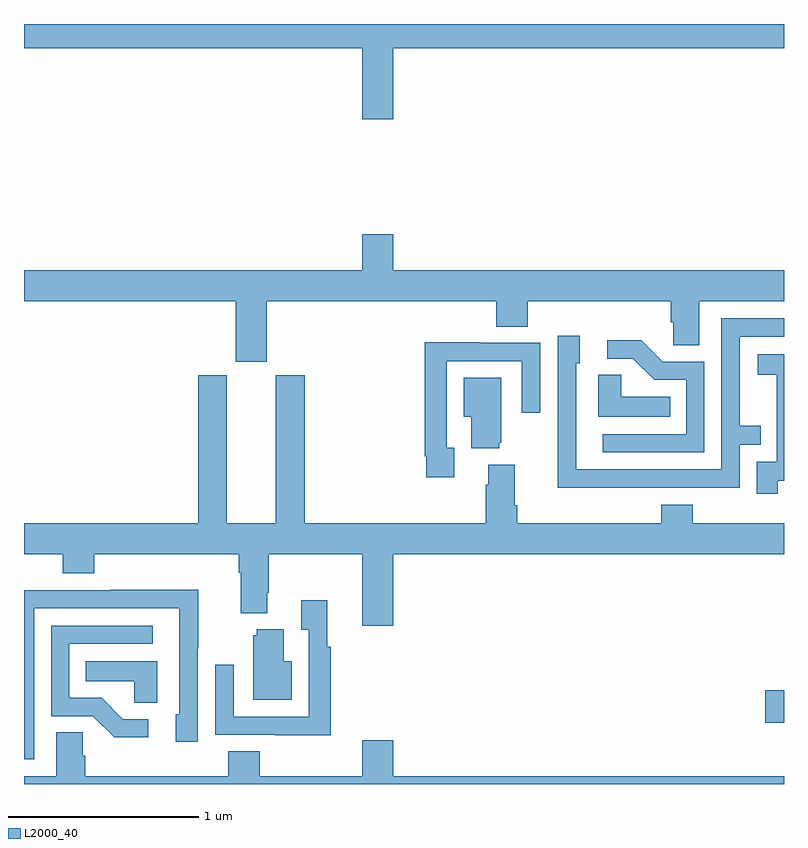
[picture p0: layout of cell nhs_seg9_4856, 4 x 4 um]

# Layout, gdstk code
import gdstk
lib = gdstk.Library(unit=1e-6, precision=1e-09)
def R(c, l, rs):  # rectangles x0, y0, x1, y1
    for r in rs: c.add(gdstk.rectangle(r[:2], r[2:], *l))
def P(c, l, *ps):  # polygons
    for p in ps: c.add(gdstk.Polygon(p, *l))
L2000_40 = (2000, 40)

nhs_seg9_4856 = lib.new_cell('nhs_seg9_4856')
R(nhs_seg9_4856, L2000_40, [(394.902,1240.823,395,1240.994)])
P(nhs_seg9_4856, L2000_40, [(392.944,1244.372),(395,1244.372),(395,1244.5),(391,1244.5),(391,1244.372),(392.78,1244.372),(392.78,1243.998),(392.944,1243.998)],
  [(392.278,1243.04),(393.485,1243.04),(393.485,1242.907),(393.65,1242.907),(393.65,1243.04),(394.403,1243.04),(394.403,1242.931),(394.416,1242.931),(394.416,1242.808),(394.555,1242.808),(394.555,1243.04),(395,1243.04),(395,1243.204),(392.944,1243.204),(392.944,1243.393),(392.78,1243.393),(392.78,1243.204),(391,1243.204),(391,1243.04),(392.114,1243.04),(392.114,1242.723),(392.278,1242.723)],
  [(394.271,1242.06),(394.767,1242.06),(394.767,1242.285),(394.877,1242.285),(394.877,1242.386),(394.767,1242.386),(394.767,1242.855),(395,1242.855),(395,1242.951),(394.671,1242.951),(394.671,1242.156),(393.906,1242.156),(393.906,1242.714),(393.925,1242.714),(393.925,1242.859),(393.81,1242.859),(393.81,1242.365),(393.808,1242.365),(393.808,1242.059),(394.271,1242.059)],
  [(394.581,1242.723),(394.362,1242.723),(394.249,1242.836),(394.071,1242.836),(394.071,1242.738),(394.205,1242.738),(394.316,1242.627),(394.485,1242.627),(394.485,1242.342),(394.047,1242.342),(394.047,1242.246),(394.581,1242.246)],
  [(393.265,1242.27),(393.225,1242.27),(393.225,1242.726),(393.621,1242.726),(393.621,1242.453),(393.717,1242.453),(393.717,1242.822),(393.401,1242.822),(393.401,1242.824),(393.109,1242.824),(393.109,1242.226),(393.117,1242.226),(393.117,1242.114),(393.265,1242.114)],
  [(394.966,1242.097),(395,1242.097),(395,1242.763),(394.863,1242.763),(394.863,1242.653),(394.961,1242.653),(394.961,1242.425),(394.962,1242.425),(394.962,1242.195),(394.857,1242.195),(394.857,1242.027),(394.966,1242.027)],
  [(394.4,1242.538),(394.143,1242.538),(394.143,1242.653),(394.022,1242.653),(394.022,1242.434),(394.4,1242.434)],
  [(392.944,1241.708),(395,1241.708),(395,1241.872),(394.52,1241.872),(394.52,1241.971),(394.355,1241.971),(394.355,1241.872),(393.596,1241.872),(393.596,1241.968),(393.583,1241.968),(393.583,1242.181),(393.443,1242.181),(393.443,1242.074),(393.431,1242.074),(393.431,1241.872),(392.477,1241.872),(392.477,1242.651),(392.324,1242.651),(392.324,1241.872),(392.068,1241.872),(392.068,1242.651),(391.916,1242.651),(391.916,1241.872),(391,1241.872),(391,1241.708),(391.205,1241.708),(391.205,1241.609),(391.37,1241.609),(391.37,1241.708),(392.129,1241.708),(392.129,1241.612),(392.141,1241.612),(392.141,1241.399),(392.281,1241.399),(392.281,1241.506),(392.289,1241.506),(392.289,1241.708),(392.78,1241.708),(392.78,1241.334),(392.944,1241.334)],
  [(393.5,1242.297),(393.511,1242.297),(393.511,1242.637),(393.314,1242.637),(393.314,1242.434),(393.353,1242.434),(393.353,1242.266),(393.5,1242.266)],
  [(391.053,1241.424),(391.818,1241.424),(391.818,1240.866),(391.799,1240.866),(391.799,1240.722),(391.914,1240.722),(391.914,1241.215),(391.917,1241.215),(391.917,1241.522),(391.453,1241.522),(391.453,1241.52),(391,1241.52),(391,1240.629),(391.053,1240.629)],
  [(392.615,1241.222),(392.597,1241.222),(392.597,1241.467),(392.459,1241.467),(392.459,1241.311),(392.499,1241.311),(392.499,1240.854),(392.103,1240.854),(392.103,1241.128),(392.007,1241.128),(392.007,1240.758),(392.323,1240.758),(392.323,1240.757),(392.615,1240.757)],
  [(391.654,1240.842),(391.519,1240.842),(391.408,1240.953),(391.239,1240.953),(391.239,1241.238),(391.678,1241.238),(391.678,1241.334),(391.143,1241.334),(391.143,1240.857),(391.362,1240.857),(391.475,1240.745),(391.654,1240.745)],
  [(392.41,1241.146),(392.368,1241.146),(392.368,1241.314),(392.225,1241.314),(392.225,1241.283),(392.207,1241.283),(392.207,1240.943),(392.41,1240.943)],
  [(391.702,1241.146),(391.324,1241.146),(391.324,1241.042),(391.581,1241.042),(391.581,1240.927),(391.702,1240.927)],
  [(391.322,1240.649),(391.308,1240.649),(391.308,1240.772),(391.169,1240.772),(391.169,1240.54),(391,1240.54),(391,1240.5),(395,1240.5),(395,1240.54),(392.944,1240.54),(392.944,1240.729),(392.78,1240.729),(392.78,1240.54),(392.24,1240.54),(392.24,1240.673),(392.075,1240.673),(392.075,1240.54),(391.322,1240.54)])

lib.write_gds('nhs_seg9_4856.gds')
